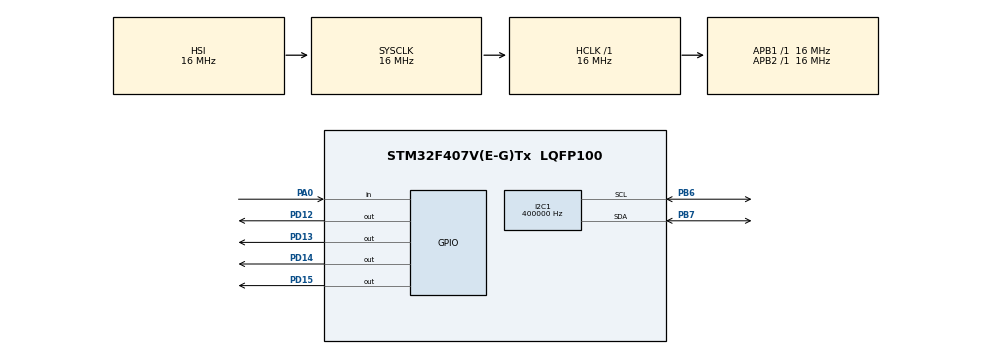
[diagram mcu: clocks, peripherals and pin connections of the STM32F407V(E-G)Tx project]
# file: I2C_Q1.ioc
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I2C1.AddressingMode=I2C_ADDRESSINGMODE_10BIT
I2C1.ClockSpeed=400000
I2C1.DutyCycle=I2C_DUTYCYCLE_16_9
I2C1.I2C_Mode=I2C_Fast
I2C1.OwnAddress=0x001D
Mcu.Family=STM32F4
Mcu.Name=STM32F407V(E-G)Tx
Mcu.Package=LQFP100
NVIC.PriorityGroup=NVIC_PRIORITYGROUP_4
PA0-WKUP.Signal=GPIO_Input
PB6.GPIO_Pu=GPIO_PULLUP
PB6.Mode=I2C
PB6.Signal=I2C1_SCL
PB7.GPIO_Pu=GPIO_PULLUP
PB7.Mode=I2C
PB7.Signal=I2C1_SDA
PD12.Signal=GPIO_Output
PD13.Signal=GPIO_Output
PD14.Signal=GPIO_Output
PD15.Signal=GPIO_Output
ProjectManager.HeapSize=0x200
ProjectManager.StackSize=0x400
ProjectManager.TargetToolchain=STM32CubeIDE
RCC.AHBFreq_Value=16000000
RCC.APB1Freq_Value=16000000
RCC.APB2Freq_Value=16000000
RCC.CortexFreq_Value=16000000
RCC.HSE_VALUE=25000000
RCC.HSI_VALUE=16000000
RCC.LSE_VALUE=32768
RCC.SYSCLKFreq_VALUE=16000000
RCC.VCOOutputFreq_Value=192000000
board=custom

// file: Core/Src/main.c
/* USER CODE BEGIN Header */
/**
  ******************************************************************************
  * @file           : main.c
  * @brief          : Main program body
  ******************************************************************************
  * @attention
  *
  * Copyright (c) 2026 STMicroelectronics.
  * All rights reserved.
  *
  * This software is licensed under terms that can be found in the LICENSE file
  * in the root directory of this software component.
  * If no LICENSE file comes with this software, it is provided AS-IS.
  *
  ******************************************************************************
  */
/* USER CODE END Header */
#include "main.h"

/* USER CODE BEGIN Includes */
#include "LedDisplay.h"

/* USER CODE END Includes */

/* USER CODE BEGIN PD */
#define MASTER  1
//#define SLAVE   1
/* USER CODE END PD */

I2C_HandleTypeDef hi2c1;

/* USER CODE BEGIN PV */
#ifdef MASTER
uint8_t aTxBuffer[2] = {0, 0xAA};
#endif
#ifdef SLAVE
uint8_t aRxBuffer[2] = {0};
#endif
/* USER CODE END PV */

void SystemClock_Config(void);
static void MX_GPIO_Init(void);
static void MX_I2C1_Init(void);

/* USER CODE END 0 */

int main(void)
{

  /* MCU Configuration--------------------------------------------------------*/

  /* Reset of all peripherals, Initializes the Flash interface and the Systick. */
  HAL_Init();

  /* Configure the system clock */
  SystemClock_Config();

  /* Initialize all configured peripherals */
  MX_GPIO_Init();
  MX_I2C1_Init();
  /* USER CODE BEGIN 2 */
  HAL_I2C_Init(&hi2c1);
  /* USER CODE END 2 */

  /* Infinite loop */
  while (1)
  {

    /* USER CODE BEGIN 3 */
#ifdef MASTER
	  if(HAL_GPIO_ReadPin(GPIOA, GPIO_PIN_0) == GPIO_PIN_SET){
		  HAL_Delay(50);
		  aTxBuffer[0]++;
		  if(aTxBuffer[0] > 4){
			  aTxBuffer[0] = 0;
		  }
		  HAL_I2C_Master_Transmit(&hi2c1, 0x001D, aTxBuffer, 2, 200);
		  while(HAL_GPIO_ReadPin(GPIOA, GPIO_PIN_0) == GPIO_PIN_SET);
		  HAL_Delay(50);
	  }
#endif

#ifdef SLAVE
	  HAL_I2C_Slave_Receive(&hi2c1, aRxBuffer, 2, 200);
	  LED_Display(aRxBuffer[0]);
#endif
  }
  /* USER CODE END 3 */
}

void SystemClock_Config(void)
{
  RCC_OscInitTypeDef RCC_OscInitStruct = {0};
  RCC_ClkInitTypeDef RCC_ClkInitStruct = {0};

  /** Configure the main internal regulator output voltage
  */
  __HAL_RCC_PWR_CLK_ENABLE();
  __HAL_PWR_VOLTAGESCALING_CONFIG(PWR_REGULATOR_VOLTAGE_SCALE1);

  /** Initializes the RCC Oscillators according to the specified parameters
  * in the RCC_OscInitTypeDef structure.
  */
  RCC_OscInitStruct.OscillatorType = RCC_OSCILLATORTYPE_HSI;
  RCC_OscInitStruct.HSIState = RCC_HSI_ON;
  RCC_OscInitStruct.HSICalibrationValue = RCC_HSICALIBRATION_DEFAULT;
  RCC_OscInitStruct.PLL.PLLState = RCC_PLL_NONE;
  if (HAL_RCC_OscConfig(&RCC_OscInitStruct) != HAL_OK)
  {
    Error_Handler();
  }

  /** Initializes the CPU, AHB and APB buses clocks
  */
  RCC_ClkInitStruct.ClockType = RCC_CLOCKTYPE_HCLK|RCC_CLOCKTYPE_SYSCLK
                              |RCC_CLOCKTYPE_PCLK1|RCC_CLOCKTYPE_PCLK2;
  RCC_ClkInitStruct.SYSCLKSource = RCC_SYSCLKSOURCE_HSI;
  RCC_ClkInitStruct.AHBCLKDivider = RCC_SYSCLK_DIV1;
  RCC_ClkInitStruct.APB1CLKDivider = RCC_HCLK_DIV1;
  RCC_ClkInitStruct.APB2CLKDivider = RCC_HCLK_DIV1;

  if (HAL_RCC_ClockConfig(&RCC_ClkInitStruct, FLASH_LATENCY_0) != HAL_OK)
  {
    Error_Handler();
  }
}

static void MX_I2C1_Init(void)
{

  hi2c1.Instance = I2C1;
  hi2c1.Init.ClockSpeed = 400000;
  hi2c1.Init.DutyCycle = I2C_DUTYCYCLE_16_9;
  hi2c1.Init.OwnAddress1 = 29;
  hi2c1.Init.AddressingMode = I2C_ADDRESSINGMODE_10BIT;
  hi2c1.Init.DualAddressMode = I2C_DUALADDRESS_DISABLE;
  hi2c1.Init.OwnAddress2 = 0;
  hi2c1.Init.GeneralCallMode = I2C_GENERALCALL_DISABLE;
  hi2c1.Init.NoStretchMode = I2C_NOSTRETCH_DISABLE;
  if (HAL_I2C_Init(&hi2c1) != HAL_OK)
  {
    Error_Handler();
  }

}

static void MX_GPIO_Init(void)
{
  GPIO_InitTypeDef GPIO_InitStruct = {0};

  /* GPIO Ports Clock Enable */
  __HAL_RCC_GPIOA_CLK_ENABLE();
  __HAL_RCC_GPIOD_CLK_ENABLE();
  __HAL_RCC_GPIOB_CLK_ENABLE();

  /*Configure GPIO pin Output Level */
  HAL_GPIO_WritePin(GPIOD, GPIO_PIN_12|GPIO_PIN_13|GPIO_PIN_14|GPIO_PIN_15, GPIO_PIN_RESET);

  /*Configure GPIO pin : PA0 */
  GPIO_InitStruct.Pin = GPIO_PIN_0;
  GPIO_InitStruct.Mode = GPIO_MODE_INPUT;
  GPIO_InitStruct.Pull = GPIO_NOPULL;
  HAL_GPIO_Init(GPIOA, &GPIO_InitStruct);

  /*Configure GPIO pins : PD12 PD13 PD14 PD15 */
  GPIO_InitStruct.Pin = GPIO_PIN_12|GPIO_PIN_13|GPIO_PIN_14|GPIO_PIN_15;
  GPIO_InitStruct.Mode = GPIO_MODE_OUTPUT_PP;
  GPIO_InitStruct.Pull = GPIO_NOPULL;
  GPIO_InitStruct.Speed = GPIO_SPEED_FREQ_LOW;
  HAL_GPIO_Init(GPIOD, &GPIO_InitStruct);

}

void Error_Handler(void)
{
  __disable_irq();
  while (1)
  {
  }
}
